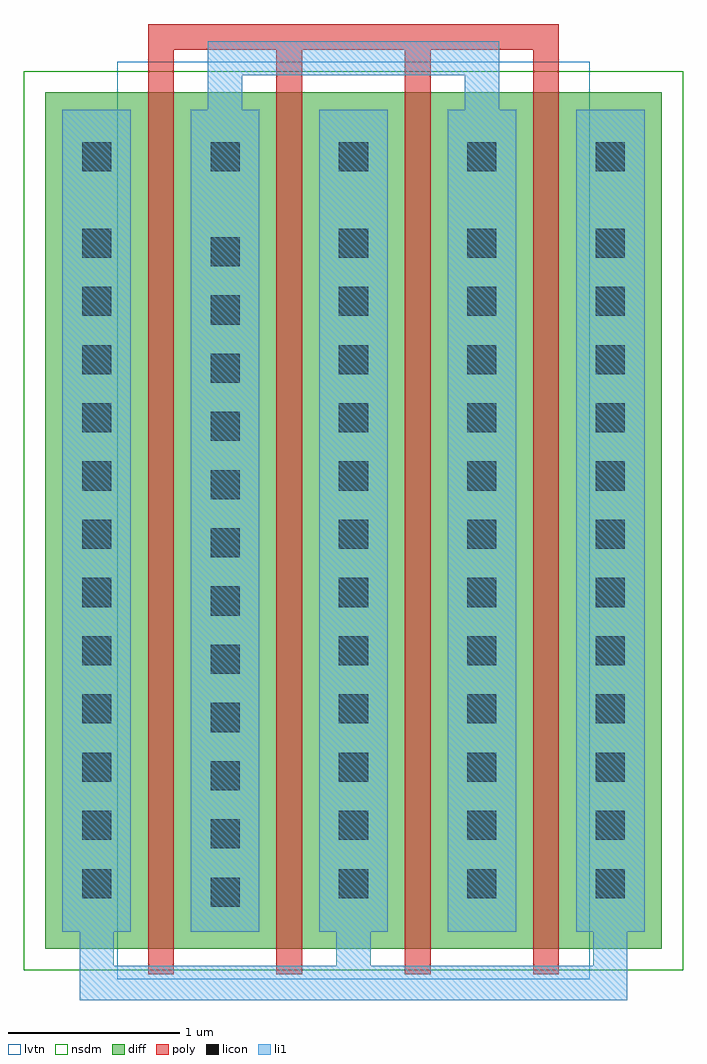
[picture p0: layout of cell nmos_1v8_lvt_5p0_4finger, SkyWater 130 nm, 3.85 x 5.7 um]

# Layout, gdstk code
import gdstk
lib = gdstk.Library(unit=1e-6, precision=1e-09)
def R(c, l, rs):  # rectangles x0, y0, x1, y1
    for r in rs: c.add(gdstk.rectangle(r[:2], r[2:], *l))
def A(c, l, x, y, w, h, nx, ny, dx, dy):  # array of equal rectangles
    R(c, l, [(x+i*dx, y+j*dy, x+i*dx+w, y+j*dy+h) for i in range(nx) for j in range(ny)])
diff = (65, 20)
poly = (66, 20)
licon = (66, 44)
li1 = (67, 20)
nsdm = (93, 44)
lvtn = (125, 44)

nmos_1v8_lvt_5p0_4finger = lib.new_cell('nmos_1v8_lvt_5p0_4finger')
R(nmos_1v8_lvt_5p0_4finger, diff, [(-5.55,0.1,-1.95,5.1)])
A(nmos_1v8_lvt_5p0_4finger, poly, -4.95, -0.05, 0.15, 5.4, 4, 1, 0.75, 0)
R(nmos_1v8_lvt_5p0_4finger, poly, [(-4.95,5.35,-2.55,5.5)])
A(nmos_1v8_lvt_5p0_4finger, licon, -4.585, 0.345, 0.17, 0.17, 1, 12, 0, 0.34)
A(nmos_1v8_lvt_5p0_4finger, licon, -5.335, 0.395, 0.17, 0.17, 1, 12, 0, 0.34)
A(nmos_1v8_lvt_5p0_4finger, licon, -3.835, 0.395, 0.17, 0.17, 3, 12, 0.75, 0.34)
A(nmos_1v8_lvt_5p0_4finger, licon, -5.335, 4.64, 0.17, 0.17, 5, 1, 0.75, 0)
A(nmos_1v8_lvt_5p0_4finger, li1, -5.35, 0, 0.2, 0.2, 3, 1, 1.5, 0)
A(nmos_1v8_lvt_5p0_4finger, li1, -5.45, 0.2, 0.4, 4.8, 5, 1, 0.75, 0)
R(nmos_1v8_lvt_5p0_4finger, li1, [(-5.35,-0.2,-2.15,0), (-4.6,5,-4.4,5.2), (-3.1,5,-2.9,5.2), (-4.6,5.2,-2.9,5.4)])
R(nmos_1v8_lvt_5p0_4finger, nsdm, [(-5.675,-0.025,-1.825,5.225)])
R(nmos_1v8_lvt_5p0_4finger, lvtn, [(-5.13,-0.08,-2.37,5.28)])

lib.write_gds('nmos_1v8_lvt_5p0_4finger.gds')
